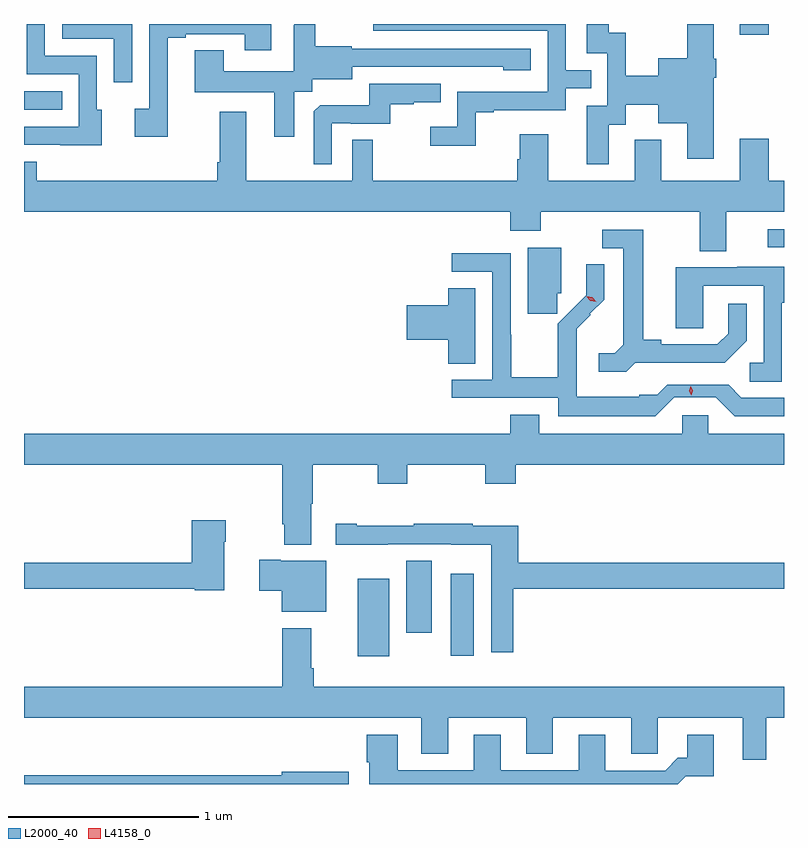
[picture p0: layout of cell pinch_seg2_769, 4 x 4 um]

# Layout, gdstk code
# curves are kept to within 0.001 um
import gdstk
lib = gdstk.Library(unit=1e-6, precision=1e-09)
def R(c, l, rs):  # rectangles x0, y0, x1, y1
    for r in rs: c.add(gdstk.rectangle(r[:2], r[2:], *l))
def P(c, l, *ps):  # polygons
    for p in ps: c.add(gdstk.Polygon(p, *l))
L2000_40 = (2000, 40)
L4158_0 = (4158, 0)

pinch_seg2_769 = lib.new_cell('pinch_seg2_769')
R(pinch_seg2_769, L2000_40, [(732.083,643.965,732.25,644.371), (732.572,643.968,732.694,644.398), (732.338,644.088,732.472,644.468), (734.241,646.116,734.327,646.212), (730.327,646.842,730.529,646.938), (734.093,647.235,734.246,647.292)])
P(pinch_seg2_769, L2000_40, [(733.405,646.762),(733.495,646.762),(733.495,646.868),(733.664,646.868),(733.664,646.769),(733.817,646.769),(733.817,646.584),(733.957,646.584),(733.957,647.009),(733.97,647.009),(733.97,647.109),(733.957,647.109),(733.957,647.292),(733.817,647.292),(733.817,647.113),(733.664,647.113),(733.664,647.02),(733.494,647.02),(733.494,647.247),(733.405,647.247),(733.405,647.292),(733.289,647.292),(733.289,647.139),(733.398,647.139),(733.398,646.863),(733.289,646.863),(733.289,646.554),(733.405,646.554)],
  [(730.896,647.292),(730.527,647.292),(730.527,647.214),(730.8,647.214),(730.8,646.986),(730.896,646.986)],
  [(731.749,646.936),(731.844,646.936),(731.844,647),(732.055,647),(732.055,647.067),(732.613,647.067),(732.613,647.066),(732.849,647.066),(732.849,647.048),(732.994,647.048),(732.994,647.163),(732.051,647.163),(732.051,647.176),(731.859,647.176),(731.859,647.292),(731.75,647.292),(731.75,647.285),(731.748,647.285),(731.748,647.044),(731.377,647.044),(731.377,647.153),(731.225,647.153),(731.225,646.934),(731.645,646.934),(731.645,646.698),(731.749,646.698)],
  [(731.083,647.22),(731.179,647.22),(731.179,647.238),(731.489,647.238),(731.489,647.154),(731.629,647.154),(731.629,647.292),(730.986,647.292),(730.986,646.846),(730.911,646.846),(730.911,646.698),(731.083,646.698)],
  [(730.735,646.842),(730.71,646.842),(730.71,647.124),(730.437,647.124),(730.437,647.292),(730.341,647.292),(730.341,647.028),(730.614,647.028),(730.614,646.752),(730.327,646.752),(730.327,646.656),(730.517,646.656),(730.517,646.655),(730.735,646.655)],
  [(732.705,646.827),(732.799,646.827),(732.799,646.839),(733.179,646.839),(733.179,646.953),(733.313,646.953),(733.313,647.049),(733.179,647.049),(733.179,647.292),(732.165,647.292),(732.165,647.256),(733.083,647.256),(733.083,646.935),(732.606,646.935),(732.606,646.75),(732.465,646.75),(732.465,646.652),(732.705,646.652)],
  [(731.946,646.77),(732.046,646.77),(732.046,646.767),(732.254,646.767),(732.254,646.869),(732.377,646.869),(732.377,646.88),(732.521,646.88),(732.521,646.977),(732.144,646.977),(732.144,646.865),(731.885,646.865),(731.853,646.833),(731.853,646.553),(731.946,646.553)],
  [(734.023,646.304),(734.327,646.304),(734.327,646.468),(734.246,646.468),(734.246,646.687),(734.093,646.687),(734.093,646.468),(733.681,646.468),(733.681,646.684),(733.541,646.684),(733.541,646.468),(733.087,646.468),(733.087,646.711),(732.935,646.711),(732.935,646.581),(732.923,646.581),(732.923,646.468),(732.163,646.468),(732.163,646.682),(732.054,646.682),(732.054,646.468),(731.497,646.468),(731.497,646.831),(731.357,646.831),(731.357,646.564),(731.345,646.564),(731.345,646.468),(730.393,646.468),(730.393,646.567),(730.327,646.567),(730.327,646.304),(732.887,646.304),(732.887,646.205),(733.047,646.205),(733.047,646.304),(733.883,646.304),(733.883,646.096),(734.023,646.096)],
  [(733.544,645.509),(734.014,645.51),(734.13,645.626),(734.13,645.82),(734.033,645.82),(734.033,645.663),(733.976,645.606),(733.681,645.606),(733.681,645.629),(733.585,645.629),(733.585,646.209),(733.371,646.209),(733.371,646.113),(733.481,646.113),(733.481,645.605),(733.436,645.56),(733.353,645.56),(733.353,645.461),(733.496,645.461)],
  [(733.134,645.874),(733.155,645.874),(733.155,646.114),(732.977,646.114),(732.977,645.766),(733.134,645.766)],
  [(733.75,645.327),(733.968,645.327),(734.067,645.228),(734.327,645.228),(734.327,645.324),(734.103,645.324),(734.035,645.393),(733.713,645.393),(733.661,645.341),(733.566,645.341),(733.566,645.331),(733.237,645.331),(733.237,645.688),(733.311,645.761),(733.305,645.767),(733.38,645.842),(733.38,646.028),(733.286,646.028),(733.286,645.865),(733.135,645.714),(733.135,645.433),(732.891,645.433),(732.891,645.656),(732.888,645.656),(732.888,646.086),(732.579,646.086),(732.579,645.987),(732.792,645.987),(732.792,645.42),(732.579,645.42),(732.579,645.324),(733.14,645.324),(733.14,645.227),(733.65,645.227)],
  [(734.316,645.825),(734.327,645.825),(734.327,646.015),(734.081,646.015),(734.081,646.011),(733.757,646.011),(733.757,645.691),(733.902,645.691),(733.902,645.915),(734.22,645.915),(734.22,645.51),(734.148,645.51),(734.148,645.409),(734.316,645.409)],
  [(732.703,645.902),(732.56,645.902),(732.56,645.812),(732.342,645.812),(732.342,645.629),(732.56,645.629),(732.56,645.505),(732.703,645.505)],
  [(731.839,644.768),(731.847,644.768),(731.847,644.972),(732.19,644.972),(732.19,644.873),(732.345,644.873),(732.345,644.972),(732.754,644.972),(732.754,644.873),(732.914,644.873),(732.914,644.972),(734.327,644.972),(734.327,645.136),(733.929,645.136),(733.929,645.234),(733.791,645.234),(733.791,645.136),(733.039,645.136),(733.039,645.235),(732.887,645.235),(732.887,645.136),(730.327,645.136),(730.327,644.972),(731.687,644.972),(731.687,644.659),(731.696,644.659),(731.696,644.552),(731.839,644.552)],
  [(731.38,644.567),(731.388,644.567),(731.388,644.68),(731.21,644.68),(731.21,644.456),(730.327,644.456),(730.327,644.32),(731.226,644.32),(731.226,644.312),(731.38,644.312)],
  [(732.902,644.32),(734.327,644.32),(734.327,644.456),(732.929,644.456),(732.929,644.652),(732.689,644.652),(732.689,644.662),(732.379,644.662),(732.379,644.652),(732.079,644.652),(732.079,644.662),(731.967,644.662),(731.967,644.552),(732.242,644.552),(732.242,644.553),(732.576,644.553),(732.576,644.552),(732.786,644.552),(732.786,643.986),(732.902,643.986)],
  [(731.917,644.467),(731.677,644.467),(731.677,644.473),(731.565,644.473),(731.565,644.309),(731.684,644.309),(731.684,644.198),(731.917,644.198)],
  [(734.233,643.64),(734.327,643.64),(734.327,643.804),(731.852,643.804),(731.852,643.9),(731.839,643.9),(731.839,644.113),(731.687,644.113),(731.687,643.804),(730.327,643.804),(730.327,643.64),(732.419,643.64),(732.419,643.45),(732.559,643.45),(732.559,643.64),(732.971,643.64),(732.971,643.45),(733.111,643.45),(733.111,643.64),(733.523,643.64),(733.523,643.45),(733.662,643.45),(733.662,643.64),(734.111,643.64),(734.111,643.419),(734.233,643.419)],
  [(733.809,643.332),(733.957,643.332),(733.957,643.552),(733.817,643.552),(733.817,643.429),(733.768,643.429),(733.701,643.362),(733.387,643.362),(733.387,643.552),(733.247,643.552),(733.247,643.365),(732.835,643.365),(732.835,643.552),(732.695,643.552),(732.695,643.365),(732.295,643.365),(732.295,643.552),(732.131,643.552),(732.131,643.406),(732.143,643.406),(732.143,643.292),(733.769,643.292)],
  [(732.037,643.357),(731.684,643.357),(731.684,643.339),(730.327,643.339),(730.327,643.292),(732.037,643.292)])
P(pinch_seg2_769, L4158_0, [(733.838,645.337),(733.838,645.337),(733.827,645.361),(733.836,645.386),(733.836,645.386),(733.837,645.386),(733.847,645.362),(733.838,645.337)],
  [(733.34,645.829),(733.308,645.835),(733.285,645.859),(733.285,645.859),(733.286,645.859),(733.317,645.853),(733.34,645.83),(733.34,645.83)])

lib.write_gds('pinch_seg2_769.gds')
